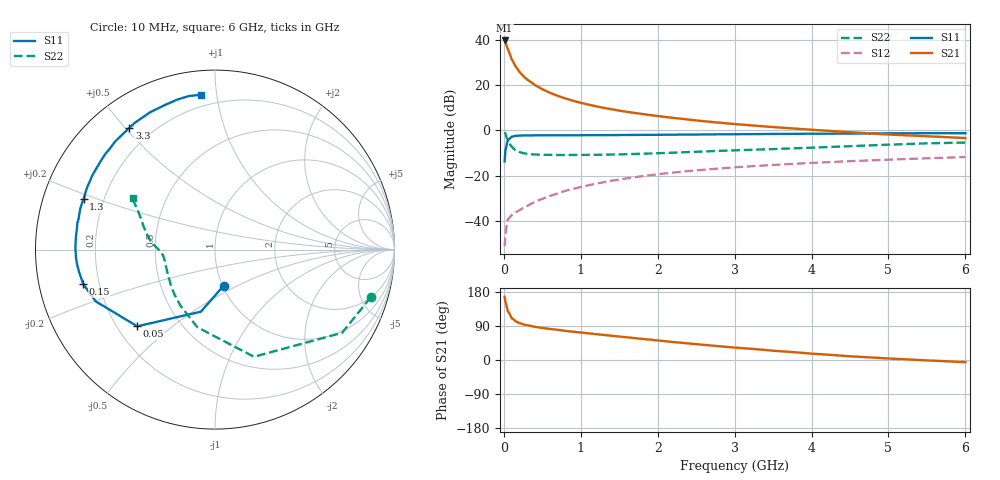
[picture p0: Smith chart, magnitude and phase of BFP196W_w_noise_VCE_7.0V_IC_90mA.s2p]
! (c) 2017  Infineon Technologies AG, Munich
! Infineon Technologies  Discrete & RF Semiconductors
! BFP196W
! VCE =  7.0 V,  IC =  90 mA
! Common Emitter S-Parameters:  Jan 2017
# GHz  S  MA  R  50
!  f  S11  S21  S12  S22
! GHz  MAG  ANG  MAG  ANG  MAG  ANG  MAG  ANG
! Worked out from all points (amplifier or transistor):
!   77 points, 10 MHz to 6 GHz, reference 50 ohm
!   highest |S21| = 39.7 dB at 10 MHz (marker M1)
!   |S21| within 3 dB of that: start of sweep to 42.48 MHz
!   unconditionally stable (mu >= 1): 521.7 MHz to 3.221 GHz
!   at 130 MHz: K = 0.53, MSG = 33.2 dB, |S12| = -36.6 dB
!   at 2.2 GHz: K = 1.04, MAG = 10.9 dB, |S12| = -18.6 dB
!   at 6 GHz: K = 0.94, MSG = 4.2 dB, |S12| = -11.7 dB
!   lowest NFmin = 1.78 dB at 450 MHz
!   S11 on the Smith chart (normalised r, x): 10 MHz: 1.01, -0.42; 50 MHz: 0.28, -0.38; 150 MHz: 0.14, -0.13; 1.3 GHz: 0.13, +0.18; 3.3 GHz: 0.12, +0.51; 6 GHz: 0.13, +0.91
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0.01  0.2067 -76.4  96.26 166.8  0.0028 78.8  0.9076 -17.0
0.02  0.3551 -102.9  89.3 153.9  0.0049 71.9  0.8463 -33.2
0.05  0.6084 -135.4  62.84 128.8  0.0106 52.7  0.6355 -70.0
0.1  0.7243 -156.5  37.56 110.6  0.0135 44.6  0.4435 -102.8
0.15  0.7588 -165.3  26.14 102.6  0.0156 47.2  0.3672 -121.6
0.2  0.7673 -170.5  19.86 97.7  0.0172 50.2  0.3351 -132.9
0.25  0.7732 -174.0  15.98 94.2  0.0194 52.6  0.3158 -141.1
0.3  0.7759 -176.6  13.36 91.8  0.0214 56.1  0.3049 -146.6
0.4  0.7779 179.3  10.1 87.7  0.0262 59.9  0.2947 -154.3
0.5  0.7778 176.3  8.08 84.6  0.031 62.8  0.2896 -159.1
0.6  0.7782 173.7  6.755 81.9  0.0359 63.7  0.2887 -162.6
0.7  0.778 171.4  5.784 79.6  0.0409 66.2  0.2867 -165.2
0.9  0.7793 166.9  4.494 74.7  0.0512 66.2  0.2875 -168.6
1.1  0.7846 162.8  3.702 70.4  0.0617 66.0  0.2889 -171.2
1.3  0.7841 158.9  3.135 66.1  0.072 65.1  0.2913 -173.4
1.6  0.7933 153.4  2.568 59.8  0.0877 63.4  0.2988 -176.3
2.1  0.8023 144.2  1.978 49.6  0.1125 59.5  0.3182 179.3
3.1  0.8241 128.1  1.339 31.3  0.1572 50.1  0.3681 171.0
3.3  0.829 125.2  1.259 28.1  0.165 48.3  0.3777 169.2
4.1  0.8467 114.1  1.009 15.5  0.1954 41.3  0.4222 161.3
5.1  0.8624 103.3  0.797 3.0  0.2294 33.2  0.4909 152.3
6  0.8663 95.0  0.679 -5.7  0.2588 26.0  0.5392 147.7
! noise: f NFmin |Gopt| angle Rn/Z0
0.45  1.78  0.58  -175  0.06
0.9  1.93  0.6  -168  0.08
1.9  2.83  0.71  -147  0.22
2.4  3.27  0.75  -142  0.36
